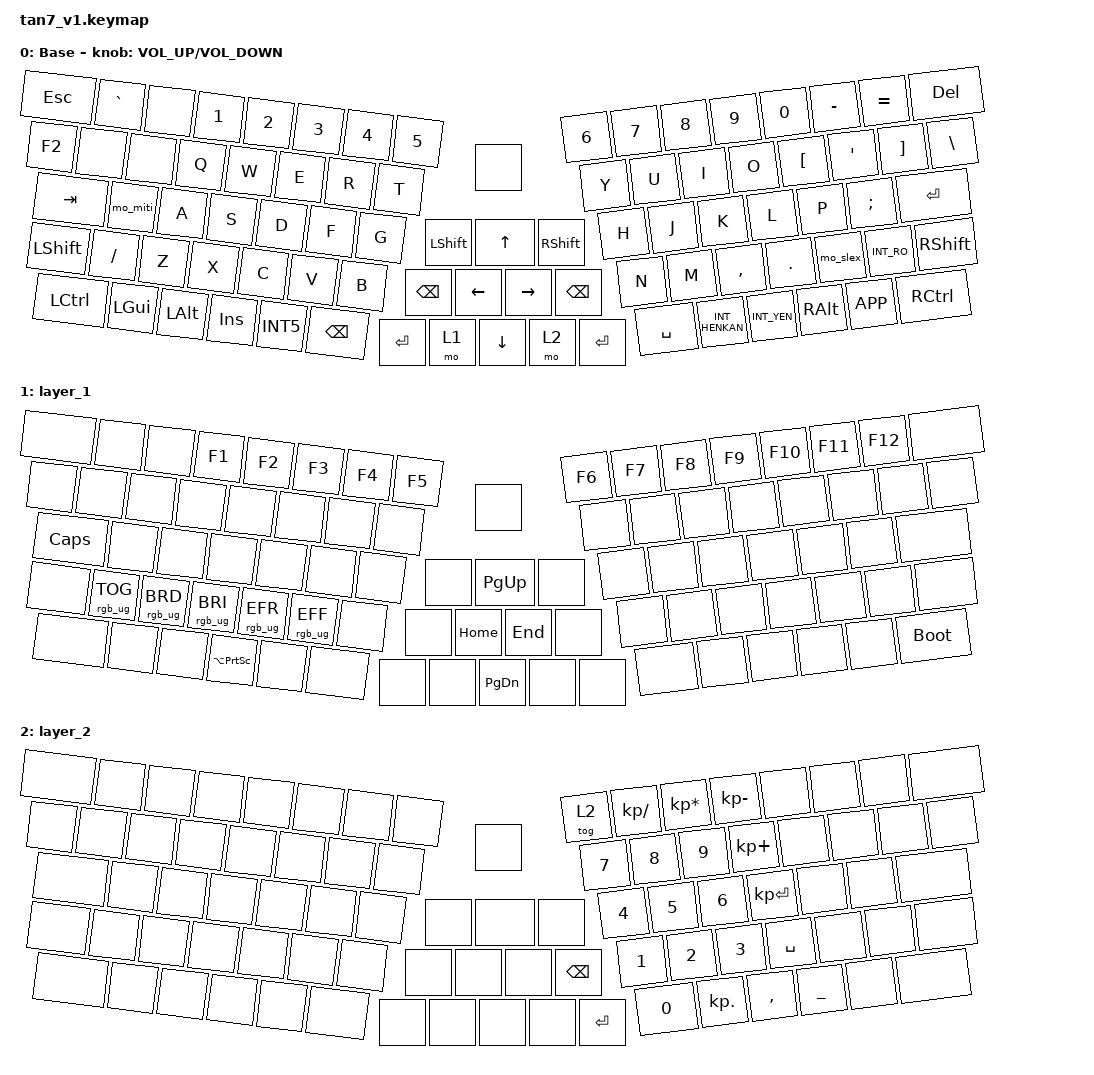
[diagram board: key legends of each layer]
#include <dt-bindings/zmk/modifiers.h>
#include <dt-bindings/zmk/mouse.h>
#include <behaviors/rgbled_widget.dtsi>  //キースイッチバッテリーウィジット
#include <behaviors.dtsi>
#include <dt-bindings/zmk/keys.h>
#include <dt-bindings/zmk/rgb.h>

/ {
    behaviors {
        // 通常時は「?」、Shift時は「!」

        mo_slex: slash_exclamation {
            compatible = "zmk,behavior-mod-morph";
            #binding-cells = <0>;
            bindings = <&kp LS(SLASH)>, <&kp LS(NUMBER_1)>;

            mods = <(MOD_LSFT|MOD_RSFT)>;
        };

        // 通常時は「-」、Shift時は「~」

        mo_miti: minus_tilde {
            compatible = "zmk,behavior-mod-morph";
            #binding-cells = <0>;
            bindings = <&kp MINUS>, <&kp LS(EQUAL)>;

            mods = <(MOD_LSFT|MOD_RSFT)>;
        };

        mo_at_equal: mo_at_equal {
            compatible = "zmk,behavior-mod-morph";
            label = "@";
            bindings = <&kp LBKT>, <&kp LS(MINUS)>;

            #binding-cells = <0>;
            mods = <(MOD_LSFT|MOD_RSFT)>;
        };
    };

    keymap {
        compatible = "zmk,keymap";

        layer_0 {
            display-name = "Base";
            bindings = <
&kp ESCAPE  &kp GRAVE       &none      &kp N1        &kp N2        &kp N3   &kp N4    &kp N5                                  &none                               &kp N6     &kp N7          &kp N8       &kp N9    &kp N0            &kp MINUS       &kp EQUAL        &kp DELETE
&kp F2      &none           &none      &kp Q         &kp W         &kp E    &kp R     &kp T                                                                       &kp Y      &kp U           &kp I        &kp O     &kp LEFT_BRACKET  &kp APOSTROPHE  &kp RBKT         &kp BSLH
            &kp TAB         &mo_miti   &kp A         &kp S         &kp D    &kp F     &kp G          &kp LSHFT                &kp UP               &kp RSHFT      &kp H      &kp J           &kp K        &kp L     &kp P             &kp SEMICOLON   &kp ENTER
            &kp LEFT_SHIFT  &kp SLASH  &kp Z         &kp X         &kp C    &kp V     &kp B          &kp BACKSPACE  &kp LEFT            &kp RIGHT  &kp BACKSPACE  &kp N      &kp M           &kp COMMA    &kp DOT   &mo_slex          &kp INT_RO      &kp RIGHT_SHIFT
                            &kp LCTRL  &kp LEFT_GUI  &kp LEFT_ALT  &kp INS  &kp INT5  &kp BACKSPACE  &kp ENTER      &mo 1     &kp DOWN  &mo 2      &kp ENTER      &kp SPACE  &kp INT_HENKAN  &kp INT_YEN  &kp RALT  &kp K_APP         &kp RCTRL
            >;

            sensor-bindings = <&inc_dec_kp C_VOLUME_UP C_VOLUME_DOWN>;
        };

        layer_1 {
            bindings = <
&none  &none     &none            &kp F1           &kp F2           &kp F3               &kp F4           &kp F5                   &none                          &kp F6  &kp F7  &kp F8  &kp F9  &kp F10  &kp F11      &kp F12  &none
&none  &none     &none            &none            &none            &none                &none            &none                                                   &none   &none   &none   &none   &none    &none        &none    &none
       &kp CAPS  &none            &none            &none            &none                &none            &none   &none            &kp PAGE_UP             &none  &none   &none   &none   &none   &none    &none        &none
       &none     &rgb_ug RGB_TOG  &rgb_ug RGB_BRD  &rgb_ug RGB_BRI  &rgb_ug RGB_EFR      &rgb_ug RGB_EFF  &none   &none  &kp HOME                 &kp END  &none  &none   &none   &none   &none   &none    &none        &none
                 &none            &none            &none            &kp LA(PRINTSCREEN)  &none            &none   &none  &none     &kp PAGE_DOWN  &none    &none  &none   &none   &none   &none   &none    &bootloader
            >;
        };

        layer_2 {
            bindings = <
&none  &none  &none  &none  &none  &none  &none  &none                &none                        &tog 2  &kp KP_SLASH  &kp KP_ASTERISK  &kp KP_MINUS  &none  &none  &none  &none
&none  &none  &none  &none  &none  &none  &none  &none                                             &kp N7  &kp N8        &kp N9           &kp KP_PLUS   &none  &none  &none  &none
       &none  &none  &none  &none  &none  &none  &none  &none         &none         &none          &kp N4  &kp N5        &kp N6           &kp KP_ENTER  &none  &none  &none
       &none  &none  &none  &none  &none  &none  &none  &none  &none         &none  &kp BACKSPACE  &kp N1  &kp N2        &kp N3           &kp SPACE     &none  &none  &none
              &none  &none  &none  &none  &none  &none  &none  &none  &none  &none  &kp ENTER      &kp N0  &kp KP_DOT    &kp COMMA        &kp UNDER     &none  &none
            >;
        };
    };
};
